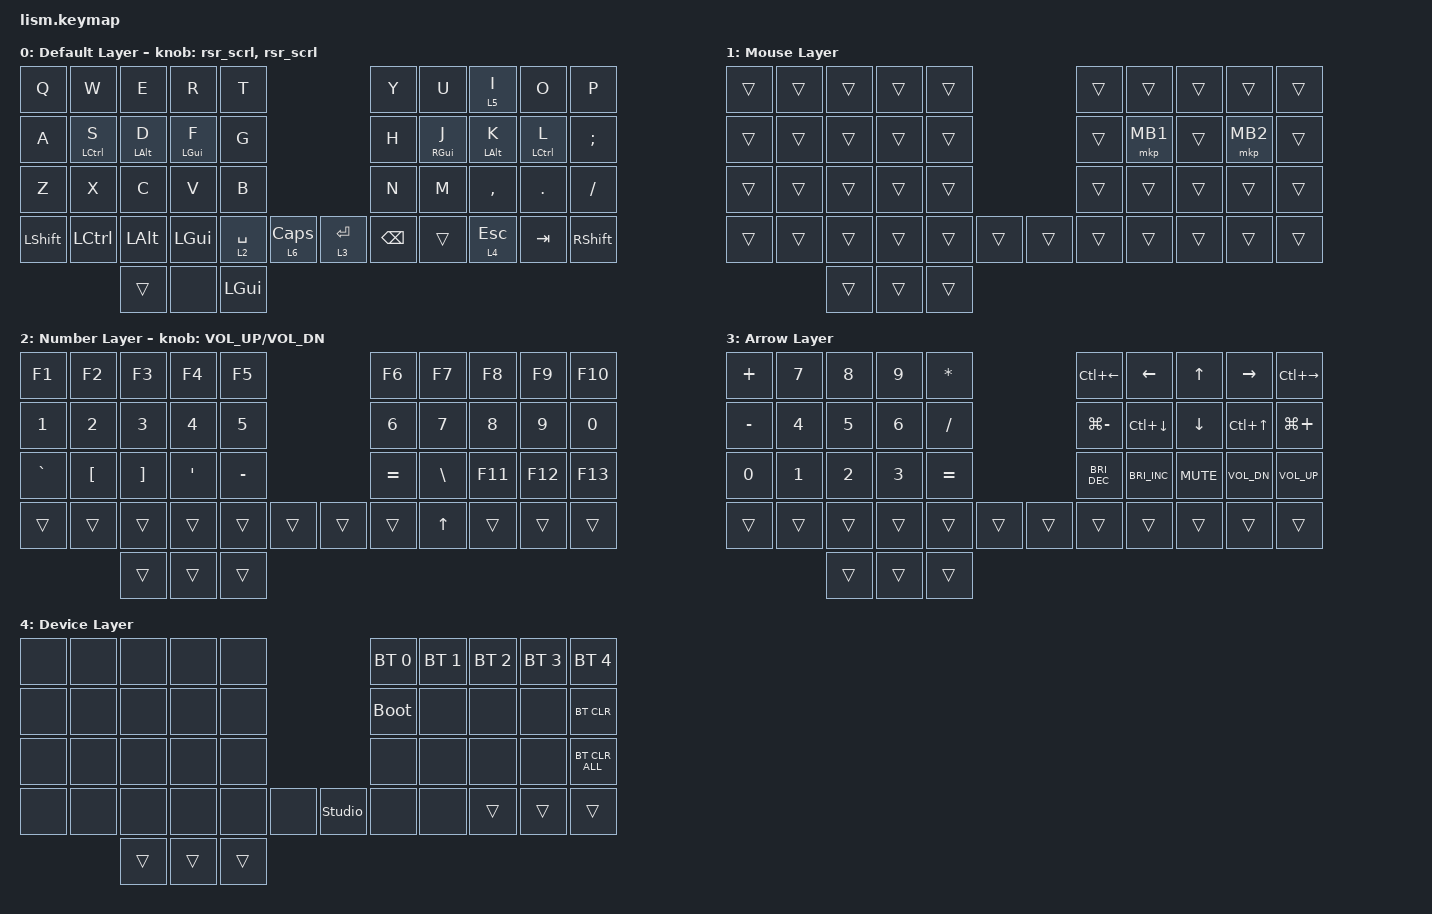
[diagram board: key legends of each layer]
#define ZMK_POINTING_DEFAULT_SCRL_VAL 200

#include <dt-bindings/zmk/mouse.h>
#include <behaviors/runtime-sensor-rotate.dtsi>
#include <behaviors/default_layer.dtsi>
#include <dt-bindings/zmk_behavior_default_layer/default_layer.h>
#include <behaviors.dtsi>
#include <dt-bindings/zmk/bt.h>
#include <dt-bindings/zmk/keys.h>
#include <dt-bindings/zmk/pointing.h>

&mt {
    tapping-term-ms = <300>;
    flavor = "balanced";
};

&lt { quick-tap-ms = <300>; };

/ {
    macros {
        emoji: emoji_macro {
            compatible = "zmk,behavior-macro";
            label = "EMOJI";
            #binding-cells = <0>;
            bindings =
                <&macro_press>,
                <&kp CAPSLOCK>,
                <&macro_tap>,
                <&kp E>,
                <&macro_release>,
                <&kp CAPSLOCK>;
        };
    };

    behaviors {
        encoder_kp: sensor_rotate_kp {
            compatible = "zmk,behavior-sensor-rotate-var";
            #sensor-binding-cells = <2>;
            bindings = <&kp>, <&kp>;
        };

        rsr_scrl: rsr_scrl {
            compatible = "zmk,behavior-runtime-sensor-rotate";
            #sensor-binding-cells = <0>;
            tap-ms = <20>;
            cw-binding = <&msc SCRL_DOWN>;
            ccw-binding = <&msc SCRL_UP>;
        };
    };

    combos {
        compatible = "zmk,combos";

        Escape {
            bindings = <&kp ESCAPE>;
            key-positions = <0 1>;
        };

        Tab {
            bindings = <&kp TAB>;
            key-positions = <1 2>;
        };

        TabFwd {
            bindings = <&kp LC(TAB)>;
            key-positions = <18 19>;
        };

        TabBack {
            bindings = <&kp LS(LC(TAB))>;
            key-positions = <17 18>;
        };

        Dec {
            bindings = <&kp LG(MINUS)>;
            key-positions = <7 8>;
        };

        Inc {
            bindings = <&kp LG(PLUS)>;
            key-positions = <8 9>;
        };
    };

    keymap {
        compatible = "zmk,keymap";

        default_layer {
            display-name = "Default Layer";
            bindings = <
&kp Q           &kp W               &kp E           &kp R         &kp T                                        &kp Y          &kp U       &lt 5 I         &kp O               &kp P
&kp A           &mt LEFT_CONTROL S  &mt LEFT_ALT D  &mt LGUI F    &kp G                                        &kp H          &mt RGUI J  &mt LEFT_ALT K  &mt LEFT_CONTROL L  &kp SEMICOLON
&kp Z           &kp X               &kp C           &kp V         &kp B                                        &kp N          &kp M       &kp COMMA       &kp DOT             &kp SLASH
&kp LEFT_SHIFT  &kp LEFT_CONTROL    &kp LEFT_ALT    &kp LEFT_GUI  &lt 2 SPACE   &lt 6 CAPSLOCK    &lt 3 ENTER  &kp BACKSPACE  &trans      &lt 4 ESCAPE    &kp TAB             &kp RIGHT_SHIFT
                                    &trans          &none         &kp LEFT_GUI
            >;

            sensor-bindings = <&rsr_scrl &rsr_scrl>;
        };

        layer_1 {
            display-name = "Mouse Layer";
            bindings = <
&trans  &trans  &trans  &trans  &trans                    &trans  &trans    &trans  &trans    &trans
&trans  &trans  &trans  &trans  &trans                    &trans  &mkp MB1  &trans  &mkp MB2  &trans
&trans  &trans  &trans  &trans  &trans                    &trans  &trans    &trans  &trans    &trans
&trans  &trans  &trans  &trans  &trans  &trans    &trans  &trans  &trans    &trans  &trans    &trans
                &trans  &trans  &trans
            >;
        };

        layer_2 {
            display-name = "Number Layer";
            bindings = <
&kp F1     &kp F2    &kp F3    &kp F4    &kp F5                       &kp F6     &kp F7    &kp F8   &kp F9   &kp F10
&kp N1     &kp N2    &kp N3    &kp N4    &kp N5                       &kp N6     &kp N7    &kp N8   &kp N9   &kp N0
&kp GRAVE  &kp LBKT  &kp RBKT  &kp APOS  &kp MINUS                    &kp EQUAL  &kp BSLH  &kp F11  &kp F12  &kp F13
&trans     &trans    &trans    &trans    &trans     &trans    &trans  &trans     &kp UP    &trans   &trans   &trans
                     &trans    &trans    &trans
            >;

            sensor-bindings = <&encoder_kp C_VOL_UP C_VOL_DN>;
        };

        ARROW {
            display-name = "Arrow Layer";
            bindings = <
&kp PLUS   &kp N7  &kp N8  &kp N9  &kp ASTERISK                    &kp LC(LEFT_ARROW)    &kp LEFT_ARROW        &kp UP_ARROW    &kp RIGHT         &kp LC(RIGHT)
&kp MINUS  &kp N4  &kp N5  &kp N6  &kp SLASH                       &kp LG(MINUS)         &kp LC(DOWN_ARROW)    &kp DOWN_ARROW  &kp LC(UP_ARROW)  &kp LG(PLUS)
&kp N0     &kp N1  &kp N2  &kp N3  &kp EQUAL                       &kp C_BRIGHTNESS_DEC  &kp C_BRIGHTNESS_INC  &kp K_MUTE      &kp C_VOL_DN      &kp C_VOLUME_UP
&trans     &trans  &trans  &trans  &trans        &trans    &trans  &trans                &trans                &trans          &trans            &trans
                   &trans  &trans  &trans
            >;
        };

        BLE {
            display-name = "Device Layer";
            bindings = <
&none  &none  &none   &none   &none                            &bt BT_SEL 0  &bt BT_SEL 1  &bt BT_SEL 2  &bt BT_SEL 3  &bt BT_SEL 4
&none  &none  &none   &none   &none                            &bootloader   &none         &none         &none         &bt BT_CLR
&none  &none  &none   &none   &none                            &none         &none         &none         &none         &bt BT_CLR_ALL
&none  &none  &none   &none   &none   &none    &studio_unlock  &none         &none         &trans        &trans        &trans
              &trans  &trans  &trans
            >;
        };

        SCROLL {
            status = "reserved";
            display-name = "Scroll Layer";
            bindings = <
&trans  &trans  &trans  &trans  &trans                    &trans  &trans  &trans  &trans  &trans
&trans  &trans  &trans  &trans  &trans                    &trans  &trans  &trans  &trans  &trans
&trans  &trans  &trans  &trans  &trans                    &trans  &trans  &trans  &trans  &trans
&trans  &trans  &trans  &trans  &trans  &trans    &trans  &trans  &trans  &trans  &trans  &trans
                &trans  &trans  &trans
            >;
        };

        Number {
            status = "reserved";
            display-name = "Number Layer";
            bindings = <
&kp LC(LA(E))   &kp LA(LC(R))   &kp LA(LC(T))           &kp LA(LC(U))    &kp LA(LC(I))                              &kp PLUS   &kp N7  &kp N8     &kp N9      &kp ASTERISK
&kp LA(LC(D))   &kp LA(LC(F))   &kp LA(LC(G))           &kp LA(LC(J))    &kp LA(LC(K))                              &kp MINUS  &kp N4  &kp N5     &kp N6      &kp FSLH
&kp LS(LG(N3))  &kp LS(LG(N4))  &kp LA(LC(LEFT_ARROW))  &kp LA(LC(RET))  &kp LA(LC(RIGHT_ARROW))                    &kp N0     &kp N1  &kp N2     &kp N3      &kp EQUAL
&trans          &trans          &trans                  &trans           &trans                   &trans    &trans  &trans     &trans  &kp COMMA  &kp PERIOD  &trans
                                &trans                  &trans           &trans
            >;
        };

        layer_7 {
            status = "reserved";
            display-name = "Brank Layer";
            bindings = <
&trans  &trans  &trans  &trans  &trans                    &trans  &trans  &trans  &trans  &trans
&trans  &trans  &trans  &trans  &trans                    &trans  &trans  &trans  &trans  &trans
&trans  &trans  &trans  &trans  &trans                    &trans  &trans  &trans  &trans  &trans
&trans  &trans  &trans  &trans  &trans  &trans    &trans  &trans  &trans  &trans  &trans  &trans
                &trans  &trans  &trans
            >;
        };
    };
};
